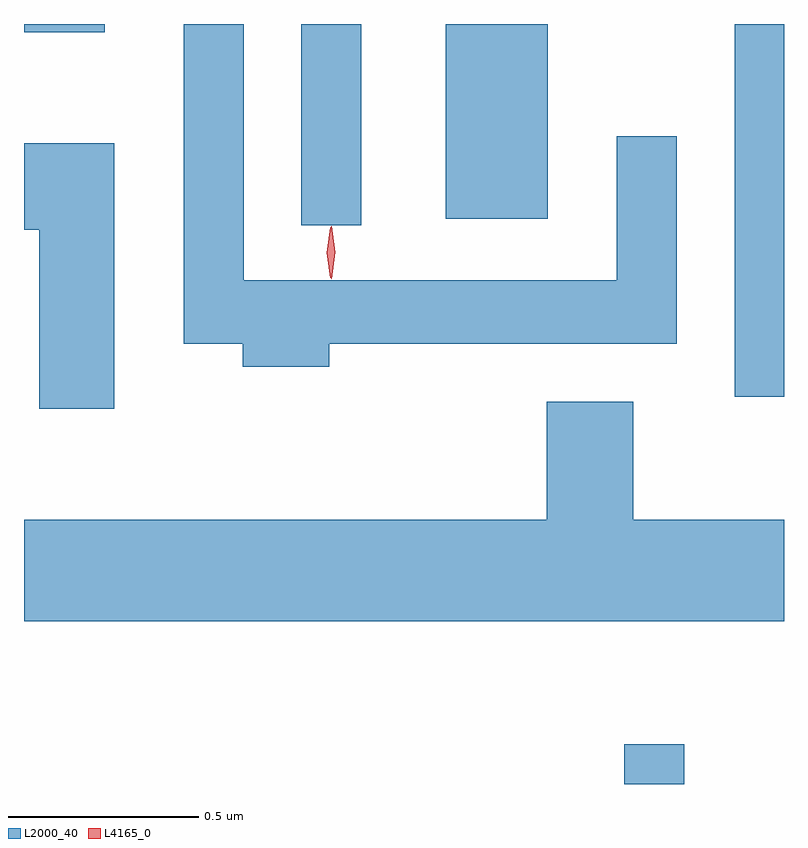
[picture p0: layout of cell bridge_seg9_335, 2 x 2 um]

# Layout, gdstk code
import gdstk
lib = gdstk.Library(unit=1e-6, precision=1e-09)
def R(c, l, rs):  # rectangles x0, y0, x1, y1
    for r in rs: c.add(gdstk.rectangle(r[:2], r[2:], *l))
def P(c, l, *ps):  # polygons
    for p in ps: c.add(gdstk.Polygon(p, *l))
L2000_40 = (2000, 40)
L4165_0 = (4165, 0)

bridge_seg9_335 = lib.new_cell('bridge_seg9_335')
R(bridge_seg9_335, L2000_40, [(1027.876,2071.308,1028.034,2071.413), (1028.166,2072.327,1028.296,2073.308), (1027.026,2072.778,1027.184,2073.308), (1027.406,2072.796,1027.674,2073.308), (1026.296,2073.286,1026.509,2073.308)])
P(bridge_seg9_335, L2000_40, [(1027.099,2072.466),(1028.014,2072.466),(1028.014,2073.012),(1027.856,2073.012),(1027.856,2072.634),(1026.874,2072.634),(1026.874,2073.308),(1026.716,2073.308),(1026.716,2072.466),(1026.871,2072.466),(1026.871,2072.406),(1027.099,2072.406)],
  [(1026.534,2072.994),(1026.296,2072.994),(1026.296,2072.766),(1026.336,2072.766),(1026.336,2072.296),(1026.534,2072.296)],
  [(1028.296,2072.004),(1027.899,2072.004),(1027.899,2072.314),(1027.671,2072.314),(1027.671,2072.004),(1026.296,2072.004),(1026.296,2071.736),(1028.296,2071.736)])
P(bridge_seg9_335, L4165_0, [(1027.105,2072.637),(1027.105,2072.637),(1027.095,2072.707),(1027.105,2072.776),(1027.105,2072.776),(1027.106,2072.776),(1027.115,2072.707),(1027.106,2072.637)],
  [(1027.102,2072.64),(1027.102,2072.64),(1027.093,2072.706),(1027.102,2072.772),(1027.103,2072.773),(1027.103,2072.772),(1027.112,2072.706),(1027.103,2072.64)])

lib.write_gds('bridge_seg9_335.gds')
